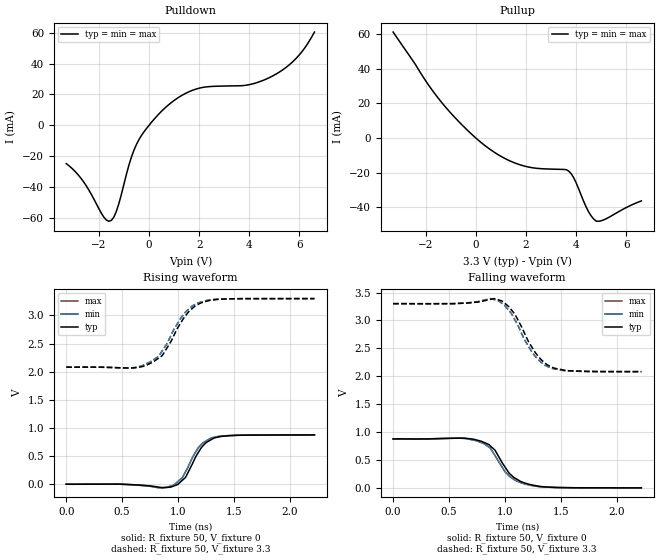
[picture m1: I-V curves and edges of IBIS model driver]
| IBIS file ex2_weak_tr50ps.ibs created by PYS2IBIS3
| Missouri S&T EMC Lab
[IBIS Ver] 7.1
[File Name] ex2_weak_tr50ps.ibs
[File Rev] 1.0
[Date] July 28, 2026
[Source] ex2 variant 'weak' -- output stage at half width
[Notes] Parameter selection; sim_time=2.222e-09, tr=tf=5.000e-11.
[Disclaimer] Experimental characterization for pybis observability study.
[Component] MCM Driver 1
[Manufacturer] MegaFLOPS Inc.
[Package]
| variable   typ   min   max
R_pkg 0 NA NA
L_pkg 0H NA NA
C_pkg 0F NA NA
[Pin]  signal_name   model_name   R_pin   L_pin   C_pin
vdd   vdd   POWER
gnd   gnd   GND
| in in dummy
out   out   driver
| End of Component
| Models and submodels in the file (1): driver (Output)
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[Model] driver
Model_type Output
Polarity Non-Inverting
Enable Active-Low
Vinl  = 0.8V
Vinh  = 2V
C_comp 5.0000pF 5.0000pF 5.0000pF
[Temperature Range] 27.0000 27.0000 27.0000
[Voltage Range] 3.3000V 3.3000V 3.3000V
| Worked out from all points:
|   slope of the pulldown table from 0 to 0.495 V, typ, clamps not added: 54.7 ohm
|   slope of the pullup table from 0 to 0.495 V, typ, clamps not added: 85.1 ohm
|   rising waveform, R_fixture 50, V_fixture 0: 20-80 % time 150ps typ, 151ps min, 151ps max; typ from 0 V to 0.876 V
|   rising waveform, R_fixture 50, V_fixture 3.3: 20-80 % time 220ps typ, 221ps min, 221ps max; typ from 2.08 V to 3.3 V
|   falling waveform, R_fixture 50, V_fixture 0: 20-80 % time 191ps typ, 190ps min, 190ps max; typ from 0.876 V to 0 V
|   falling waveform, R_fixture 50, V_fixture 3.3: 20-80 % time 208ps typ, 208ps min, 208ps max; typ from 3.3 V to 2.08 V
[Pulldown]
| Voltage   I(typ)   I(min)   I(max)
-3.3V     -24.71mA   -24.71mA   -24.71mA
-2.6V     -36.69mA   -36.69mA   -36.69mA
-1.8V     -59.35mA   -59.35mA   -59.35mA
-1.5V     -61.44mA   -61.44mA   -61.44mA
-1.3V     -55.57mA   -55.57mA   -55.57mA
-500mV    -12.32mA   -12.32mA   -12.32mA
600mV     10.7mA     10.7mA     10.7mA
1.9V      23.61mA    23.61mA    23.61mA
3.9V      26.05mA    26.05mA    26.05mA
4.9V      31.7mA     31.7mA     31.7mA
5.9V      43.88mA    43.88mA    43.88mA
6.6V      60.38mA    60.38mA    60.38mA
[Pullup]
| Voltage   I(typ)   I(min)   I(max)
-3.3V     61.37mA    61.37mA    61.37mA
-1.9V     30.97mA    30.97mA    30.97mA
-1.3V     19.49mA    19.49mA    19.49mA
-200mV    2.648mA    2.648mA    2.648mA
700mV     -7.897mA   -7.897mA   -7.897mA
2V        -16.47mA   -16.47mA   -16.47mA
3.7V      -19.09mA   -19.09mA   -19.09mA
3.9V      -22.93mA   -22.93mA   -22.93mA
4.5V      -42.81mA   -42.81mA   -42.81mA
4.8V      -48.13mA   -48.13mA   -48.13mA
5.1V      -47.39mA   -47.39mA   -47.39mA
6.6V      -36.41mA   -36.41mA   -36.41mA
[Ramp]
| variable   typ   min   max
dV/dt_r 0.5257/0.1504n 0.5258/0.1508n 0.5258/0.1508n
dV/dt_f 0.7308/0.2077n 0.7308/0.2078n 0.7308/0.2078n
R_load = 50
[Rising Waveform]
R_fixture = 50
V_fixture = 0
|time   V(typ)   V(min)   V(max)
0s        5.892nV    5.892nV    5.892nV
829.7ps   -54.31mV   -63.62mV   -63.62mV
934.3ps   -52.42mV   -34.46mV   -34.46mV
1.037ns   64.63mV    108mV      108mV
1.068ns   120.3mV    220.3mV    220.3mV
1.179ns   553.1mV    639.7mV    639.7mV
1.248ns   734.6mV    765.5mV    765.5mV
1.292ns   786.6mV    817.9mV    817.9mV
1.499ns   867.5mV    868.7mV    868.7mV
2.222ns   876.2mV    876.3mV    876.3mV
[Rising Waveform]
R_fixture = 50
V_fixture = 3.3
|time   V(typ)   V(min)   V(max)
0s        2.081V     2.081V     2.081V
593.9ps   2.067V     2.068V     2.068V
771.9ps   2.165V     2.201V     2.201V
858.6ps   2.285V     2.367V     2.367V
1.003ns   2.799V     2.883V     2.883V
1.065ns   2.99V      3.057V     3.057V
1.155ns   3.171V     3.198V     3.198V
1.241ns   3.244V     3.261V     3.261V
1.424ns   3.294V     3.295V     3.295V
2.222ns   3.3V       3.3V       3.3V
[Falling Waveform]
R_fixture = 50
V_fixture = 0
|time   V(typ)   V(min)   V(max)
0s        876.4mV    876.4mV    876.4mV
576.1ps   889.8mV    891.7mV    891.7mV
787.5ps   836.6mV    813.3mV    813.3mV
869.8ps   753.4mV    713.2mV    713.2mV
909.8ps   682.4mV    584.5mV    584.5mV
994.3ps   395.5mV    306.6mV    306.6mV
1.039ns   261.6mV    212.2mV    212.2mV
1.203ns   70.54mV    56.45mV    56.45mV
1.437ns   7.89mV     6.209mV    6.209mV
2.222ns   22.93uV    17.78uV    17.78uV
[Falling Waveform]
R_fixture = 50
V_fixture = 3.3
|time   V(typ)   V(min)   V(max)
0s        3.3V       3.3V       3.3V
565ps     3.3V       3.303V     3.303V
907.6ps   3.389V     3.373V     3.373V
1.001ns   3.305V     3.263V     3.263V
1.09ns    3.111V     3.013V     3.013V
1.248ns   2.502V     2.417V     2.417V
1.357ns   2.24V      2.199V     2.199V
1.435ns   2.149V     2.136V     2.136V
1.546ns   2.102V     2.098V     2.098V
2.222ns   2.082V     2.082V     2.082V
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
